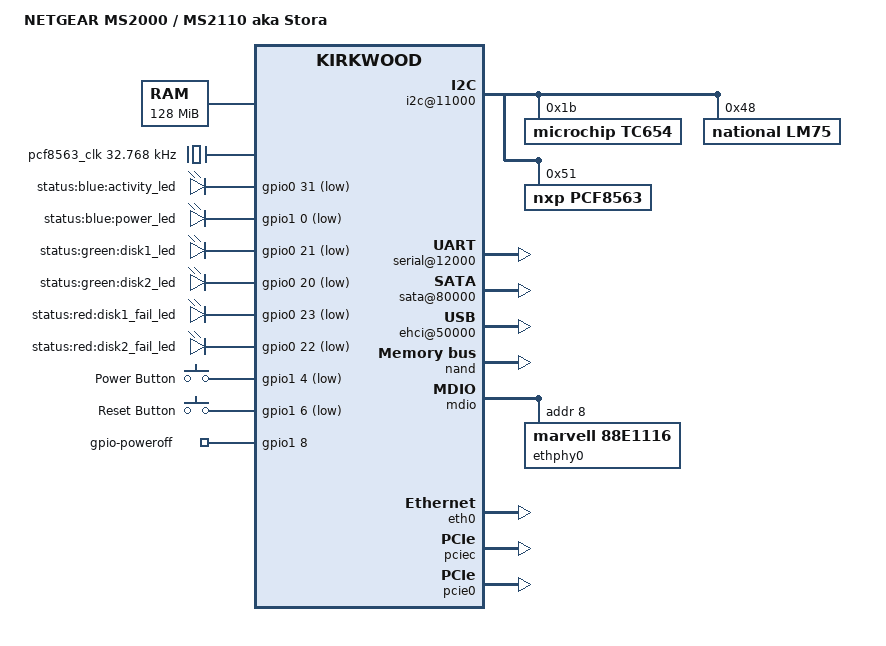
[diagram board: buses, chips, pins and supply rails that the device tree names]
/* 
 * Device tree file for the Netgear Stora MS2000 / MS2110 box.
 *
 * Copyright (c) 2016-2017, bodhi <mibodhi@gmail.com>
 *
 */

/dts-v1/;

#include "kirkwood.dtsi"
#include "kirkwood-6281.dtsi"

/ {
	model = "NETGEAR MS2000 / MS2110 aka Stora";
	compatible = "netgear,stora,ms2000,ms2110", "netgear,stora", "marvell,kirkwood-88f6281", "marvell,kirkwood";

	memory { /* 128 MB */
		device_type = "memory";
		reg = <0x00000000 0x8000000>;
	};

	chosen {
		bootargs = "console=ttyS0,115200n8 earlyprintk";
		stdout-path = &uart0;
	};

	ocp@f1000000 {
		pinctrl: pin-controller@10000 {
			pmx_button_power: pmx-button-power {
				marvell,pins = "mpp36";
				marvell,function = "gpio";
			};

			pmx_button_reset: pmx-button-reset {
				marvell,pins = "mpp38";
				marvell,function = "gpio";
			};

			pmx_led_blue_activity: pmx-led-blue-activity {
				marvell,pins = "mpp31";
				marvell,function = "gpio";
			};

			pmx_led_blue_power: pmx-led-blue-power {
				marvell,pins = "mpp32";
				marvell,function = "gpio";
			};

			pmx_led_green_disk1: pmx-led-green-disk1 {
				marvell,pins = "mpp21";
				marvell,function = "gpio";
			};

			pmx_led_green_disk2: pmx-led-green-disk2 {
				marvell,pins = "mpp20";
				marvell,function = "gpio";
			};

			pmx_led_red_disk1: pmx-led-red-disk1 {
				marvell,pins = "mpp23";
				marvell,function = "gpio";
			};

			pmx_led_red_disk2: pmx-led-red-disk2 {
				marvell,pins = "mpp22";
				marvell,function = "gpio";
			};

			pmx_poweroff: pmx-poweroff {
				marvell,pins = "mpp40";
				marvell,function = "gpio";
			};

			pmx_fan_tacho: pmx-fan-tacho {
				marvell,pins = "mpp41";
				marvell,function = "gpio";
			};
		};

		clocks {
			pcf8563_clk: pcf8563-oscillator {
				compatible = "fixed-clock";
				#clock-cells = <0>;
				clock-frequency = <32768>;
			};
		};

		i2c@11000 {
			status = "okay";

			tc654: tc654@1b {
				compatible = "microchip,tc654";
				reg = <0x1b>;
			};	

			lm75: lm75@48 {
				compatible = "national,lm75";
				reg = <0x48>;
			};

			pcf8563: pcf8563@51 {
				compatible = "nxp,pcf8563";
				reg = <0x51>;
			};
		};

		serial@12000 {
			status = "okay";
		};

		sata@80000 {
			status = "okay";
			nr-ports = <2>;
		};

		ehci@50000 {
			status = "okay";
		};
	};

	gpio-leds {
		compatible = "gpio-leds";
		pinctrl-0 = < &pmx_led_blue_activity &pmx_led_blue_power
			      &pmx_led_green_disk1 &pmx_led_green_disk2
			      &pmx_led_red_disk1 &pmx_led_red_disk2 >;
		pinctrl-names = "default";

		activity_led {
			label = "status:blue:activity_led";
			gpios = <&gpio0 31 GPIO_ACTIVE_LOW>;
			default-state = "keep";
			linux,default-trigger = "heartbeat";
		};

		power_led {
			label = "status:blue:power_led";
			gpios = <&gpio1 0 GPIO_ACTIVE_LOW>;
			default-state = "keep";
			linux,default-trigger = "default-on";
		};

		disk1_led {
			label = "status:green:disk1_led";
			gpios = <&gpio0 21 GPIO_ACTIVE_LOW>;
			default-state = "keep";
			linux,default-trigger = "ide-disk1";
		};

		disk2_led {
			label = "status:green:disk2_led";
			gpios = <&gpio0 20 GPIO_ACTIVE_LOW>;
			default-state = "keep";
			linux,default-trigger = "ide-disk2";
		};

		disk1_fail_led {
			label = "status:red:disk1_fail_led";
			gpios = <&gpio0 23 GPIO_ACTIVE_LOW>;
			default-state = "keep";
		};

		disk2_fail_led {
			label = "status:red:disk2_fail_led";
			gpios = <&gpio0 22 GPIO_ACTIVE_LOW>;
			default-state = "keep";
		};
	};

	gpio-keys {
		compatible = "gpio-keys";
		pinctrl-0 = < &pmx_button_power &pmx_button_reset >;
		pinctrl-names = "default";

		power-button {
			label = "Power Button";
			linux,code = <KEY_POWER>;
			gpios = <&gpio1 4 GPIO_ACTIVE_LOW>;
		};

		reset-button {
			label = "Reset Button";
			linux,code = <KEY_RESTART>;
			gpios = <&gpio1 6 GPIO_ACTIVE_LOW>;
		};
	};

	gpio-poweroff {
		compatible = "gpio-poweroff";
		pinctrl-0 = <&pmx_poweroff>;
		pinctrl-names = "default";
		gpios = <&gpio1 8 GPIO_ACTIVE_HIGH>;
	};
};

&nand {
	status = "okay";
	chip-delay = <40>;

	partition@0 {
		label = "u-boot";
		reg = <0x0000000 0x0100000>;
	};

	partition@100000 {
		label = "uImage";
		reg = <0x0100000 0x0600000>;
	};

	partition@700000 {
		label = "root";
		reg = <0x0700000 0x0f900000>;
	};
};

&mdio {
	status = "okay";

	ethphy0: ethernet-phy@8 { /* Marvell 88E1116R */
		compatible = "marvell,88e1116";
		reg = <8>;
	};
};

&eth0 {
	status = "okay";
	ethernet0-port@0 {
		phy-handle = <&ethphy0>;
	};
};

&pciec {
	status = "okay";
};

&pcie0 {
	status = "okay";
};


